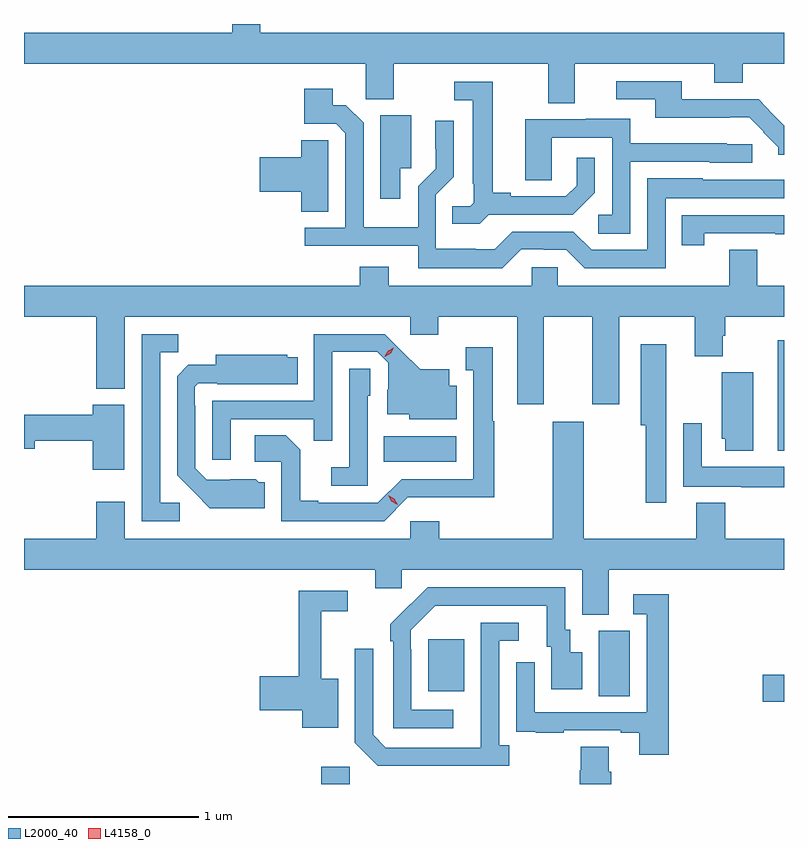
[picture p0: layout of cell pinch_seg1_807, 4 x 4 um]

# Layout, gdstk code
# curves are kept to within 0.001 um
import gdstk
lib = gdstk.Library(unit=1e-6, precision=1e-09)
def R(c, l, rs):  # rectangles x0, y0, x1, y1
    for r in rs: c.add(gdstk.rectangle(r[:2], r[2:], *l))
def P(c, l, *ps):  # polygons
    for p in ps: c.add(gdstk.Polygon(p, *l))
L2000_40 = (2000, 40)
L4158_0 = (4158, 0)

pinch_seg1_807 = lib.new_cell('pinch_seg1_807')
R(pinch_seg1_807, L2000_40, [(470.483,559.929,470.634,560.02), (472.806,560.362,472.919,560.504), (471.944,560.392,472.108,560.736), (471.047,560.417,471.235,560.692), (470.812,561.626,471.193,561.76), (472.886,561.683,472.919,562.264)])
P(pinch_seg1_807, L2000_40, [(471.817,563.72),(472.553,563.72),(472.553,563.621),(472.701,563.621),(472.701,563.72),(472.919,563.72),(472.919,563.884),(470.163,563.884),(470.163,563.929),(470.015,563.929),(470.015,563.884),(468.919,563.884),(468.919,563.72),(470.718,563.72),(470.718,563.533),(470.865,563.533),(470.865,563.72),(471.677,563.72),(471.677,563.512),(471.817,563.512)],
  [(472.919,563.394),(472.859,563.453),(472.861,563.455),(472.785,563.532),(472.381,563.532),(472.381,563.628),(472.035,563.628),(472.035,563.532),(472.241,563.532),(472.241,563.435),(472.634,563.435),(472.634,563.438),(472.736,563.438),(472.812,563.361),(472.809,563.358),(472.888,563.28),(472.888,563.24),(472.919,563.24)],
  [(471.366,562.926),(471.808,562.926),(471.924,563.042),(471.924,563.224),(471.827,563.224),(471.827,563.079),(471.77,563.022),(471.481,563.022),(471.481,563.042),(471.385,563.042),(471.385,563.625),(471.183,563.625),(471.183,563.529),(471.281,563.529),(471.281,563.089),(471.285,563.089),(471.285,562.989),(471.267,562.971),(471.172,562.971),(471.172,562.879),(471.318,562.879)],
  [(471.537,562.743),(471.654,562.743),(471.654,562.74),(471.774,562.74),(471.87,562.644),(472.296,562.644),(472.296,563.013),(472.919,563.013),(472.919,563.109),(472.491,563.109),(472.491,563.116),(472.2,563.116),(472.2,562.74),(471.906,562.74),(471.81,562.836),(471.489,562.836),(471.396,562.743),(471.296,562.743),(471.296,562.747),(471.087,562.747),(471.087,563.031),(471.18,563.124),(471.18,563.419),(471.084,563.419),(471.084,563.272),(471.086,563.272),(471.086,563.166),(470.994,563.074),(470.994,562.858),(470.706,562.858),(470.706,563.409),(470.613,563.502),(470.545,563.502),(470.545,563.587),(470.393,563.587),(470.393,563.403),(470.562,563.403),(470.61,563.355),(470.61,562.857),(470.397,562.857),(470.397,562.761),(470.993,562.761),(470.993,562.643),(471.437,562.643)],
  [(470.899,563.169),(470.956,563.169),(470.956,563.448),(470.795,563.448),(470.795,563.01),(470.899,563.01)],
  [(472.11,563.205),(472.527,563.205),(472.527,563.199),(472.752,563.199),(472.752,563.295),(472.617,563.295),(472.617,563.302),(472.111,563.302),(472.111,563.431),(471.875,563.431),(471.875,563.427),(471.557,563.427),(471.557,563.107),(471.696,563.107),(471.696,563.331),(472.014,563.331),(472.014,562.926),(471.942,562.926),(471.942,562.825),(472.11,562.825)],
  [(470.521,563.21),(470.52,563.21),(470.52,563.318),(470.378,563.318),(470.378,563.228),(470.16,563.228),(470.16,563.045),(470.378,563.045),(470.378,562.942),(470.521,562.942)],
  [(472.5,562.827),(472.873,562.827),(472.873,562.822),(472.919,562.822),(472.919,562.923),(472.381,562.923),(472.381,562.764),(472.5,562.764)],
  [(471.655,562.388),(471.911,562.388),(471.911,561.927),(472.051,561.927),(472.051,562.388),(472.45,562.388),(472.45,562.18),(472.597,562.18),(472.597,562.289),(472.61,562.289),(472.61,562.388),(472.919,562.388),(472.919,562.552),(472.777,562.552),(472.777,562.742),(472.63,562.742),(472.63,562.552),(471.729,562.552),(471.729,562.65),(471.591,562.65),(471.591,562.552),(470.839,562.552),(470.839,562.651),(470.687,562.651),(470.687,562.552),(468.919,562.552),(468.919,562.388),(469.298,562.388),(469.298,562.01),(469.45,562.01),(469.45,562.388),(470.952,562.388),(470.952,562.293),(471.099,562.293),(471.099,562.388),(471.515,562.388),(471.515,561.927),(471.655,561.927)],
  [(470.007,561.849),(470.443,561.849),(470.443,561.736),(470.541,561.736),(470.541,562.203),(470.778,562.203),(470.835,562.146),(470.835,562.004),(470.831,562.004),(470.831,561.875),(470.946,561.875),(470.946,561.848),(471.196,561.848),(471.196,562.024),(471.157,562.024),(471.157,562.111),(471.005,562.111),(470.818,562.296),(470.445,562.296),(470.445,561.945),(469.911,561.945),(469.911,561.636),(470.007,561.636)],
  [(469.738,561.408),(469.635,561.408),(469.635,562.201),(469.731,562.201),(469.731,562.296),(469.539,562.296),(469.539,561.312),(469.738,561.312)],
  [(472.299,561.922),(472.3,561.922),(472.3,562.243),(472.166,562.243),(472.166,561.818),(472.191,561.818),(472.191,561.408),(472.299,561.408)],
  [(470.94,561.438),(471.395,561.437),(471.395,561.839),(471.385,561.839),(471.385,562.228),(471.245,562.228),(471.245,562.107),(471.284,562.107),(471.284,561.534),(470.907,561.534),(470.781,561.408),(470.467,561.408),(470.467,561.421),(470.373,561.421),(470.373,561.688),(470.297,561.764),(470.133,561.764),(470.133,561.624),(470.274,561.624),(470.274,561.312),(470.814,561.312)],
  [(470.185,561.516),(470.154,561.516),(470.138,561.532),(469.881,561.531),(469.821,561.591),(469.821,561.92),(469.818,561.92),(469.818,562.02),(469.836,562.038),(469.936,562.038),(469.936,562.034),(470.36,562.034),(470.36,562.174),(470.304,562.174),(470.304,562.189),(469.928,562.189),(469.928,562.135),(469.784,562.135),(469.725,562.076),(469.725,561.554),(469.897,561.38),(470.185,561.38)],
  [(470.727,561.972),(470.742,561.972),(470.742,562.115),(470.631,562.115),(470.631,561.595),(470.535,561.595),(470.535,561.498),(470.727,561.498)],
  [(472.756,562.095),(472.592,562.095),(472.592,561.747),(472.61,561.747),(472.61,561.684),(472.756,561.684)],
  [(469.447,561.925),(469.28,561.925),(469.28,561.872),(468.919,561.872),(468.919,561.694),(468.976,561.694),(468.976,561.736),(469.28,561.736),(469.28,561.582),(469.447,561.582)],
  [(471.997,561.056),(472.919,561.056),(472.919,561.22),(472.61,561.22),(472.61,561.409),(472.457,561.409),(472.457,561.22),(471.865,561.22),(471.865,561.835),(471.701,561.835),(471.701,561.22),(471.104,561.22),(471.104,561.313),(470.952,561.313),(470.952,561.22),(469.45,561.22),(469.45,561.415),(469.298,561.415),(469.298,561.22),(468.919,561.22),(468.919,561.056),(470.768,561.056),(470.768,560.958),(470.907,560.958),(470.907,561.056),(471.857,561.056),(471.857,560.821),(471.997,560.821)],
  [(472.919,561.598),(472.485,561.598),(472.485,561.829),(472.389,561.829),(472.389,561.494),(472.693,561.494),(472.693,561.492),(472.919,561.492)],
  [(471.178,560.319),(470.958,560.319),(470.958,560.639),(470.955,560.639),(470.955,560.739),(471.084,560.868),(471.671,560.868),(471.671,560.652),(471.695,560.652),(471.695,560.427),(471.856,560.427),(471.856,560.623),(471.793,560.623),(471.793,560.742),(471.768,560.742),(471.768,560.964),(471.044,560.964),(470.847,560.769),(470.847,560.681),(470.862,560.681),(470.862,560.223),(471.178,560.223)],
  [(470.572,560.482),(470.483,560.482),(470.483,560.838),(470.623,560.838),(470.623,560.946),(470.365,560.946),(470.365,560.495),(470.16,560.495),(470.16,560.317),(470.384,560.317),(470.384,560.225),(470.572,560.225)],
  [(472.313,560.929),(472.125,560.929),(472.125,560.823),(472.197,560.823),(472.197,560.307),(471.606,560.307),(471.606,560.569),(471.51,560.569),(471.51,560.314),(471.511,560.314),(471.511,560.205),(471.613,560.205),(471.613,560.199),(471.761,560.199),(471.761,560.211),(472.061,560.211),(472.061,560.199),(472.157,560.199),(472.157,560.082),(472.313,560.082)],
  [(471.472,560.134),(471.42,560.134),(471.42,560.682),(471.523,560.682),(471.523,560.778),(471.324,560.778),(471.323,560.121),(470.823,560.121),(470.757,560.187),(470.757,560.641),(470.661,560.641),(470.661,560.145),(470.782,560.024),(471.472,560.024)],
  [(472.01,559.994),(471.997,559.994),(471.997,560.126),(471.85,560.126),(471.85,560.001),(471.845,560.001),(471.845,559.929),(472.01,559.929)])
P(pinch_seg1_807, L4158_0, [(470.818,562.179),(470.818,562.18),(470.835,562.209),(470.866,562.224),(470.866,562.224),(470.866,562.224),(470.849,562.195),(470.818,562.179)],
  [(470.885,561.398),(470.853,561.416),(470.835,561.449),(470.835,561.449),(470.836,561.449),(470.867,561.43),(470.885,561.398),(470.885,561.398)])

lib.write_gds('pinch_seg1_807.gds')
